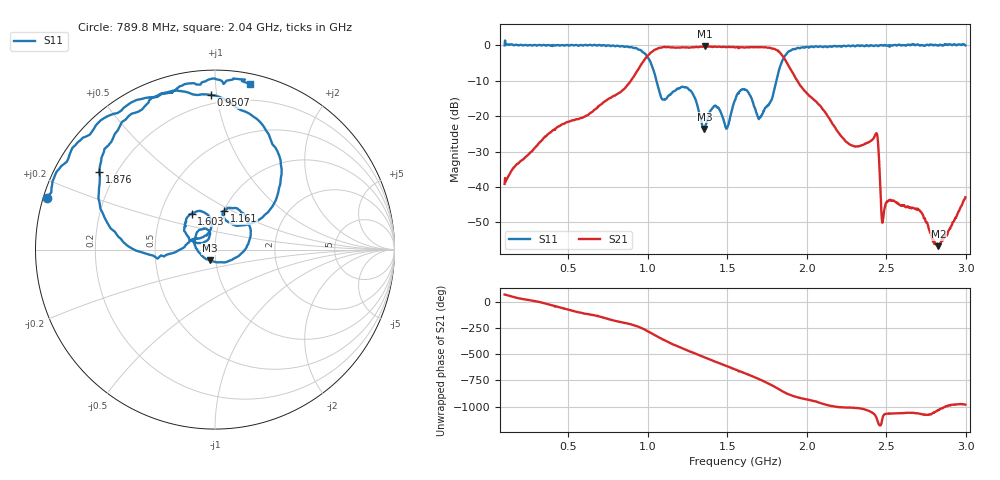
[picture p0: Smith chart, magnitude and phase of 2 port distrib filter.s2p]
# HZ S RI R 50
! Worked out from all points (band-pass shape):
!   1009 points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, 100 MHz to 2.997 GHz, reference 50 ohm
!   highest |S21| = -0.31 dB at 1.359 GHz (marker M1); lowest = -56.7 dB at 2.828 GHz (marker M2)
!   |S21| within 3 dB of the highest: 992.7 MHz to 1.853 GHz (860.6 MHz wide, 60.5 % of centre)
!   lowest |S11| = -23.6 dB at 1.356 GHz (marker M3), VSWR 1.14, Z = 46.8 - j5.54 ohm
!   |S11| at or under -10 dB: 1.054 GHz to 1.809 GHz (754.7 MHz wide, 52.7 % of centre)
!   S12 and S22 are empty: the file has one direction only
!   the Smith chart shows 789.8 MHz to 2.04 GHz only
!   S11 on the Smith chart (normalised r, x): 789.8 MHz: 0.01, +0.15; 950.7 MHz: 0.14, +0.96; 1.161 GHz: 1.00, +0.46; 1.603 GHz: 0.72, +0.30; 1.876 GHz: 0.14, +0.30; 2.04 GHz: 0.07, +1.23
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1e8  -0.7975 0.5966  0.00443 0.0101  0 0  0 0
2.52329e8  0.1908 0.9866  0.0283 0.00694  0 0  0 0
3.845392e8  0.9863 0.1576  0.0504 -0.0293  0 0  0 0
5.828543e8  -0.2509 -0.9772  -0.029 -0.0898  0 0  0 0
7.897919e8  -0.9382 0.286  -0.1938 0.00698  0 0  0 0
9.507434e8  -0.0232 0.8613  -0.2029 0.4601  0 0  0 0
1.065709e9  0.2078 0.1475  0.8365 0.351  0 0  0 0
1.160555e9  0.0504 0.2166  0.6039 -0.7106  0 0  0 0
1.246779e9  0.1737 0.1828  -0.2212 -0.9075  0 0  0 0
1.355996e9  -0.0295 -0.0589  -0.942 -0.1586  0 0  0 0
1.35887e9  -0.0413 -0.0548  -0.9558 -0.1285  0 0  0 0
1.548563e9  -0.1516 0.073  0.2752 0.891  0 0  0 0
1.603172e9  -0.1303 0.2008  0.7011 0.6164  0 0  0 0
1.772745e9  -0.1579 0.0297  0.3022 -0.862  0 0  0 0
1.876214e9  -0.6443 0.4348  -0.5187 -0.2158  0 0  0 0
2.031417e9  0.1383 0.9493  -0.1325 0.1236  0 0  0 0
2.04004e9  0.1932 0.9224  -0.12 0.1244  0 0  0 0
2.433796e9  0.9898 -0.0945  0.055 -0.0125  0 0  0 0
2.476908e9  0.962 -0.2321  0.00288 -0.00129  0 0  0 0
2.514272e9  0.9341 -0.346  0.00628 0.00149  0 0  0 0
2.827552e9  0.1923 -0.9672  0.00103 0.00103  0 0  0 0
2.997126e9  -0.3499 -0.9346  -0.00102 0.00708  0 0  0 0
